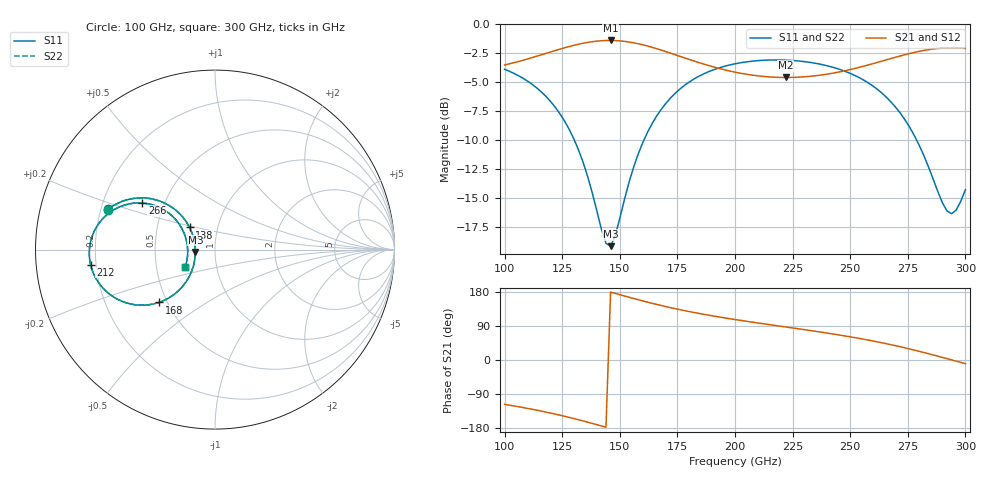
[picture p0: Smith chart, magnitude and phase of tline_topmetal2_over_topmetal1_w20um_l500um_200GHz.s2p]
#  GHZ S DB R 50
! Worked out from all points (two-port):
!   101 points, 100 GHz to 300 GHz, reference 50 ohm
!   highest |S21| = -1.41 dB at 146 GHz (marker M1); lowest = -4.6 dB at 222 GHz (marker M2)
!   |S21| within 3 dB of the highest: start of sweep to 207.7 GHz; 236.8 GHz to end of sweep
!   lowest |S11| = -19.2 dB at 146 GHz (marker M3), VSWR 1.25, Z = 40.1 - j1.11 ohm
!   |S11| at or under -10 dB: 130.2 GHz to 160.5 GHz (30.25 GHz wide, 20.8 % of centre); 278.8 GHz to end of sweep
!   |S22| runs from -19.1 to -3.1 dB; largest |S21 - S12| = 9.1e-14
!   S11 on the Smith chart (normalised r, x): 100 GHz: 0.23, +0.17; 138 GHz: 0.73, +0.19; 168 GHz: 0.45, -0.33; 212 GHz: 0.18, -0.06; 266 GHz: 0.38, +0.25; 300 GHz: 0.70, -0.14
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100  -3.90 159.5  -3.52 -117.1  -3.52 -117.1  -3.90 159.6
110  -4.92 150.9  -3.00 -127.8  -3.00 -127.8  -4.92 150.9
120  -6.69 142.0  -2.40 -140.1  -2.40 -140.1  -6.68 142.1
128  -9.07 136.0  -1.93 -151.4  -1.93 -151.4  -9.07 136.1
134  -11.89 134.7  -1.65 -160.7  -1.65 -160.7  -11.88 134.9
138  -14.53 138.9  -1.51 -167.3  -1.51 -167.3  -14.52 139.0
144  -18.92 168.7  -1.41 -177.4  -1.41 -177.4  -18.88 168.8
146  -19.17 -172.9  -1.41 179.2  -1.41 179.2  -19.13 -172.9
158  -11.21 -131.3  -1.69 159.0  -1.69 159.0  -11.20 -131.4
168  -7.35 -136.7  -2.24 143.8  -2.24 143.8  -7.35 -136.7
182  -4.76 -149.2  -3.17 125.6  -3.17 125.6  -4.76 -149.2
200  -3.42 -164.2  -4.14 106.8  -4.14 106.8  -3.42 -164.2
212  -3.12 -173.1  -4.51 95.9  -4.51 95.9  -3.12 -173.1
222  -3.10 179.8  -4.60 87.2  -4.60 87.2  -3.10 179.8
234  -3.35 171.2  -4.47 76.6  -4.47 76.6  -3.35 171.3
250  -4.25 159.4  -3.92 61.1  -3.92 61.1  -4.25 159.5
266  -6.36 147.3  -3.06 42.6  -3.06 42.6  -6.36 147.4
268  -6.78 146.0  -2.95 40.0  -2.95 40.0  -6.78 146.0
278  -9.68 141.7  -2.43 25.9  -2.43 25.9  -9.68 141.7
292  -16.13 170.8  -2.04 3.6  -2.04 3.6  -16.11 170.8
296  -16.05 -166.3  -2.04 -3.1  -2.04 -3.1  -16.04 -166.3
300  -14.29 -149.4  -2.10 -9.7  -2.10 -9.7  -14.29 -149.5
